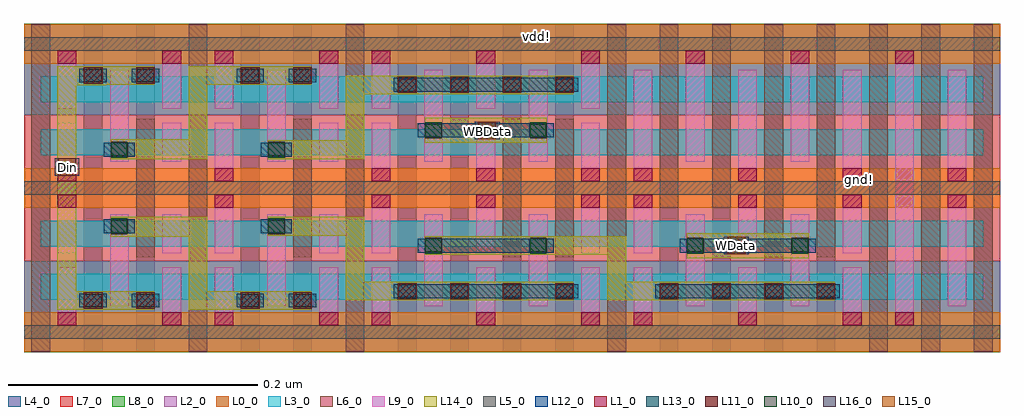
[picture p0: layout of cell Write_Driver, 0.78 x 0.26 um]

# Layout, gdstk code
from math import pi, radians
import gdstk
lib = gdstk.Library(unit=1e-6, precision=5e-10)
def R(c, l, rs):  # rectangles x0, y0, x1, y1
    for r in rs: c.add(gdstk.rectangle(r[:2], r[2:], *l))
def A(c, l, x, y, w, h, nx, ny, dx, dy):  # array of equal rectangles
    R(c, l, [(x+i*dx, y+j*dy, x+i*dx+w, y+j*dy+h) for i in range(nx) for j in range(ny)])
L0_0 = (0, 0)
L1_0 = (1, 0)
L2_0 = (2, 0)
L3_0 = (3, 0)
L4_0 = (4, 0)
L5_0 = (5, 0)
L6_0 = (6, 0)
L7_0 = (7, 0)
L8_0 = (8, 0)
L9_0 = (9, 0)
L10_0 = (10, 0)
L11_0 = (11, 0)
L12_0 = (12, 0)
L13_0 = (13, 0)
L14_0 = (14, 0)
L15_0 = (15, 0)
L16_0 = (16, 0)

nmos = lib.new_cell('nmos')
R(nmos, L3_0, [(-0.042,-0.0105,0.042,0.0105)])
A(nmos, L4_0, -0.0495, -0.032, 0.015, 0.064, 3, 1, 0.042, 0)
R(nmos, L7_0, [(-0.0555,-0.021,0.0555,0.0205)])
R(nmos, L9_0, [(-0.0285,-0.0155,-0.0135,0.0155), (0.0135,-0.0155,0.0285,0.0155)])

pmos = lib.new_cell('pmos')
R(pmos, L2_0, [(-0.042,-0.0205,0.042,0.0205)])
R(pmos, L3_0, [(-0.042,-0.0105,0.042,0.0105)])
A(pmos, L4_0, -0.0495, -0.032, 0.015, 0.064, 3, 1, 0.042, 0)
R(pmos, L8_0, [(-0.0555,-0.0205,0.0555,0.0205)])
R(pmos, L9_0, [(-0.0285,-0.0155,-0.0135,0.0155), (0.0135,-0.0155,0.0285,0.0155)])

bpr_m0a = lib.new_cell('BPR_M0A')
R(bpr_m0a, L0_0, [(-0.021,-0.0055,0.021,0.026)])
R(bpr_m0a, L1_0, [(-0.0075,-0.0055,0.0075,0.005)])
R(bpr_m0a, L9_0, [(-0.0075,-0.0165,0.0075,0.005)])

m0a_m0b = lib.new_cell('M0A_M0B')
R(m0a_m0b, L9_0, [(-0.0075,-0.0055,0.0075,0.0055)])
R(m0a_m0b, L10_0, [(-0.0065,-0.0065,0.0065,0.0065)])
R(m0a_m0b, L12_0, [(-0.0125,-0.0055,0.0125,0.0055)])

gate_m0b = lib.new_cell('GATE_M0B')
R(gate_m0b, L4_0, [(-0.0075,-0.0115,0.0075,0.0115)])
R(gate_m0b, L11_0, [(-0.0075,-0.0065,0.0075,0.0065)])
R(gate_m0b, L12_0, [(-0.011,-0.0055,0.011,0.0055)])

m0b_m1 = lib.new_cell('M0B_M1')
R(m0b_m1, L12_0, [(-0.011,-0.005,0.011,0.005)])
R(m0b_m1, L13_0, [(-0.007,-0.005,0.007,0.005)])
R(m0b_m1, L14_0, [(-0.007,-0.0075,0.007,0.0075)])

inv = lib.new_cell('inv')
R(inv, L0_0, [(0,0,0.153,0.0315), (0.025,0.006,0.0415,0.016), (0,0.1155,0.153,0.147), (0.11,0.131,0.125,0.1425)])
R(inv, L2_0, [(0,0.0745,0.153,0.147)])
A(inv, L4_0, 0.006, 0, 0.015, 0.147, 4, 1, 0.042, 0)
R(inv, L5_0, [(0,0.0105,0.153,0.021), (0,0.126,0.153,0.1365)])
R(inv, L6_0, [(0.006,0,0.021,0.147), (0.132,0,0.147,0.147), (0.09,0.0315,0.105,0.0715)])
R(inv, L7_0, [(0,0,0.153,0.0745)])
R(inv, L8_0, [(0,0.075,0.153,0.1475)])
R(inv, L9_0, [(0.069,0.068,0.084,0.0795)])
R(inv, L12_0, [(0.0915,0.103,0.1055,0.1095)])
R(inv, L14_0, [(0.071,0.0415,0.0815,0.051), (0.0485,0.0985,0.1045,0.1135)])
inv.add(gdstk.Reference(nmos, (0.0975,0.0525)))
inv.add(gdstk.Reference(nmos, (0.0555,0.0525)))
inv.add(gdstk.Reference(pmos, (0.0975,0.095)))
inv.add(gdstk.Reference(pmos, (0.0555,0.095)))
inv.add(gdstk.Reference(bpr_m0a, (0.0345,0.026), rotation=pi))
inv.add(gdstk.Reference(bpr_m0a, (0.0345,0.121)))
inv.add(gdstk.Reference(bpr_m0a, (0.1185,0.121)))
inv.add(gdstk.Reference(m0a_m0b, (0.0765,0.0465)))
inv.add(gdstk.Reference(gate_m0b, (0.0555,0.106)))
inv.add(gdstk.Reference(gate_m0b, (0.0975,0.106)))
inv.add(gdstk.Reference(m0b_m1, (0.0555,0.106)))
inv.add(gdstk.Reference(m0b_m1, (0.0765,0.0465)))
inv.add(gdstk.Reference(m0b_m1, (0.0975,0.106)))
inv.add(gdstk.Label('vdd!', (0.1175,0.1365), layer=0, texttype=0))
inv.add(gdstk.Label('gnd!', (0.033,0.011), layer=0, texttype=0))
inv.add(gdstk.Label('out', (0.075,0.0435), layer=14, texttype=0))
inv.add(gdstk.Label('in', (0.0985,0.1045), layer=14, texttype=0))

buffer = lib.new_cell('buffer')
R(buffer, L0_0, [(0.045,0.0065,0.0615,0.0165), (0.13,0.1315,0.145,0.143)])
R(buffer, L14_0, [(0.0895,0.0395,0.167,0.0555), (0.152,0.0395,0.167,0.114), (0.217,0.0435,0.2275,0.053), (0.152,0.099,0.1945,0.114)])
buffer.add(gdstk.Reference(inv, (0.146,0.0005)))
buffer.add(gdstk.Reference(inv, (0.02,0.0005)))
buffer.add(gdstk.Label('out', (0.222,0.048), layer=14, texttype=0))
buffer.add(gdstk.Label('vdd!', (0.1375,0.137), layer=0, texttype=0))
buffer.add(gdstk.Label('gnd!', (0.053,0.0115), layer=0, texttype=0))

invx4 = lib.new_cell('invx4')
R(invx4, L0_0, [(0.006,0,0.243,0.0315), (0.033,0.0045,0.0535,0.0175), (0.006,0.1155,0.243,0.147), (0.194,0.131,0.215,0.143)])
R(invx4, L2_0, [(0.006,0.0745,0.243,0.147)])
A(invx4, L4_0, 0.012, 0, 0.015, 0.147, 6, 1, 0.042, 0)
R(invx4, L5_0, [(0.006,0.0105,0.243,0.021), (0.006,0.126,0.243,0.1365)])
R(invx4, L6_0, [(0.012,0,0.027,0.147), (0.222,0,0.237,0.147), (0.138,0.0315,0.153,0.0715), (0.18,0.0315,0.195,0.0715)])
R(invx4, L7_0, [(0.006,0,0.243,0.0745)])
R(invx4, L8_0, [(0.006,0.075,0.243,0.1475)])
R(invx4, L9_0, [(0.075,0.06,0.09,0.0795), (0.159,0.06,0.174,0.08)])
R(invx4, L12_0, [(0.07,0.0565,0.179,0.0675), (0.0505,0.093,0.1985,0.104)])
R(invx4, L14_0, [(0.0755,0.0545,0.1735,0.0695), (0.0795,0.058,0.0865,0.0645), (0.0545,0.091,0.1945,0.106), (0.079,0.0965,0.0855,0.1015)])
invx4.add(gdstk.Reference(bpr_m0a, (0.2085,0.121)))
invx4.add(gdstk.Reference(bpr_m0a, (0.1245,0.026), rotation=pi))
invx4.add(gdstk.Reference(bpr_m0a, (0.2085,0.026), rotation=pi))
invx4.add(gdstk.Reference(bpr_m0a, (0.0405,0.026), rotation=pi))
invx4.add(gdstk.Reference(bpr_m0a, (0.1245,0.121)))
invx4.add(gdstk.Reference(bpr_m0a, (0.0405,0.121)))
invx4.add(gdstk.Reference(gate_m0b, (0.0615,0.0985)))
invx4.add(gdstk.Reference(gate_m0b, (0.1035,0.0985)))
invx4.add(gdstk.Reference(gate_m0b, (0.1455,0.0985)))
invx4.add(gdstk.Reference(gate_m0b, (0.1875,0.0985)))
invx4.add(gdstk.Reference(m0a_m0b, (0.0825,0.062)))
invx4.add(gdstk.Reference(m0a_m0b, (0.1665,0.062)))
invx4.add(gdstk.Reference(nmos, (0.1875,0.0525)))
invx4.add(gdstk.Reference(nmos, (0.1455,0.0525)))
invx4.add(gdstk.Reference(nmos, (0.0615,0.0525)))
invx4.add(gdstk.Reference(nmos, (0.1035,0.0525)))
invx4.add(gdstk.Reference(pmos, (0.1875,0.095)))
invx4.add(gdstk.Reference(pmos, (0.1455,0.095)))
invx4.add(gdstk.Reference(pmos, (0.1035,0.095)))
invx4.add(gdstk.Reference(pmos, (0.0615,0.095)))
invx4.add(gdstk.Reference(m0b_m1, (0.0615,0.0985)))
invx4.add(gdstk.Reference(m0b_m1, (0.1035,0.0985)))
invx4.add(gdstk.Reference(m0b_m1, (0.1455,0.0985)))
invx4.add(gdstk.Reference(m0b_m1, (0.1875,0.0985)))
invx4.add(gdstk.Reference(m0b_m1, (0.0825,0.062)))
invx4.add(gdstk.Reference(m0b_m1, (0.1665,0.062)))
invx4.add(gdstk.Label('vdd!', (0.2045,0.137), layer=0, texttype=0))
invx4.add(gdstk.Label('gnd!', (0.043,0.011), layer=0, texttype=0))
invx4.add(gdstk.Label('in', (0.082,0.099), layer=14, texttype=0))
invx4.add(gdstk.Label('out', (0.083,0.061), layer=14, texttype=0))

buffer_highdrive = lib.new_cell('buffer_highdrive')
R(buffer_highdrive, L0_0, [(0.2825,0.012,0.293,0.018), (0.159,0.138,0.1675,0.143)])
R(buffer_highdrive, L14_0, [(0.168,0.054,0.2315,0.069), (0.2165,0.054,0.2315,0.1055), (0.3675,0.0575,0.3745,0.064), (0.2165,0.0905,0.259,0.1055), (0.2835,0.096,0.29,0.101)])
buffer_highdrive.add(gdstk.Reference(invx4, (-0.0055,-0.0005)))
buffer_highdrive.add(gdstk.Reference(invx4, (0.2045,-0.0005)))
buffer_highdrive.add(gdstk.Label('vdd!', (0.163,0.1405), layer=0, texttype=0))
buffer_highdrive.add(gdstk.Label('gnd!', (0.2875,0.015), layer=0, texttype=0))

sram_filler = lib.new_cell('sram_filler')
R(sram_filler, L0_0, [(0.001,0,0.112,0.0315), (0.072,0.0115,0.084,0.0245), (0.001,0.1155,0.112,0.147), (0.072,0.121,0.0855,0.141)])
R(sram_filler, L2_0, [(0.001,0.0745,0.112,0.147)])
A(sram_filler, L4_0, 0.007, 0, 0.015, 0.147, 3, 1, 0.042, 0)
R(sram_filler, L5_0, [(0.001,0.0105,0.112,0.021), (0.001,0.126,0.112,0.1365)])
A(sram_filler, L6_0, 0.007, 0, 0.015, 0.147, 3, 1, 0.042, 0)
R(sram_filler, L7_0, [(0.001,0,0.112,0.0745)])
R(sram_filler, L8_0, [(0.001,0.075,0.112,0.1475)])
R(sram_filler, L9_0, [(0.028,0.068,0.043,0.0795), (0.07,0.068,0.085,0.0795)])
sram_filler.add(gdstk.Reference(nmos, (0.0565,0.0525)))
sram_filler.add(gdstk.Reference(pmos, (0.0565,0.095)))
sram_filler.add(gdstk.Reference(bpr_m0a, (0.0355,0.026), rotation=pi))
sram_filler.add(gdstk.Reference(bpr_m0a, (0.0775,0.121)))

precharge_logic_filler = lib.new_cell('precharge_logic_filler')

m1_m2 = lib.new_cell('M1_M2')
R(m1_m2, L14_0, [(-0.007,-0.01,0.007,0.01)])
R(m1_m2, L15_0, [(-0.007,-0.007,0.007,0.007)])
R(m1_m2, L16_0, [(-0.01,-0.007,0.01,0.007)])

write_driver = lib.new_cell('Write_Driver')
R(write_driver, L0_0, [(0.6995,0.271,0.7145,0.2845), (0.442,0.385,0.4555,0.399)])
R(write_driver, L6_0, [(0.253,0.251,0.268,0.29), (0.463,0.252,0.478,0.2885), (0.421,0.2525,0.436,0.2885), (0.127,0.2535,0.142,0.29)])
R(write_driver, L9_0, [(0.736,0.243,0.751,0.307)])
R(write_driver, L14_0, [(0.0635,0.173,0.1015,0.188), (0.0635,0.173,0.079,0.3685), (0.295,0.1805,0.342,0.1955), (0.295,0.1805,0.31,0.2475), (0.5685,0.2145,0.6665,0.2345), (0.2325,0.2325,0.31,0.2475), (0.2325,0.294,0.31,0.309), (0.295,0.294,0.31,0.361), (0.3585,0.307,0.4565,0.327), (0.295,0.346,0.3495,0.361), (0.0635,0.353,0.103,0.3685)])
R(write_driver, L16_0, [(0.6035,0.22,0.613,0.2305), (0.0675,0.2835,0.076,0.2915), (0.4055,0.3125,0.413,0.32)])
write_driver.add(gdstk.Reference(buffer, (0.017,0.287), x_reflection=True))
write_driver.add(gdstk.Reference(buffer, (0.017,0.2545)))
write_driver.add(gdstk.Reference(invx4, (0.283,0.255)))
write_driver.add(gdstk.Reference(buffer_highdrive, (0.2885,0.286), x_reflection=True))
write_driver.add(gdstk.Reference(sram_filler, (0.821,0.2865), rotation=pi))
write_driver.add(gdstk.Reference(sram_filler, (0.821,0.255), rotation=pi, x_reflection=True))
write_driver.add(gdstk.Reference(sram_filler, (0.737,0.255), rotation=pi, x_reflection=True))
write_driver.add(gdstk.Reference(sram_filler, (0.582,0.255)))
write_driver.add(gdstk.Reference(sram_filler, (0.498,0.255)))
write_driver.add(gdstk.Reference(precharge_logic_filler, (0.663,0.4215)))
write_driver.add(gdstk.Reference(m1_m2, (0.4085,0.317)))
write_driver.add(gdstk.Reference(m1_m2, (0.6085,0.2245)))
write_driver.add(gdstk.Reference(m1_m2, (0.0715,0.2875)))
write_driver.add(gdstk.Label('gnd!', (0.707,0.2775), layer=0, texttype=0))
write_driver.add(gdstk.Label('vdd!', (0.4485,0.392), layer=0, texttype=0))
write_driver.add(gdstk.Label('WBData', (0.409,0.316), layer=16, texttype=0))
write_driver.add(gdstk.Label('WData', (0.608,0.225), layer=16, texttype=0))
write_driver.add(gdstk.Label('Din', (0.0715,0.2875), layer=16, texttype=0))

lib.write_gds('Write_Driver.gds')
